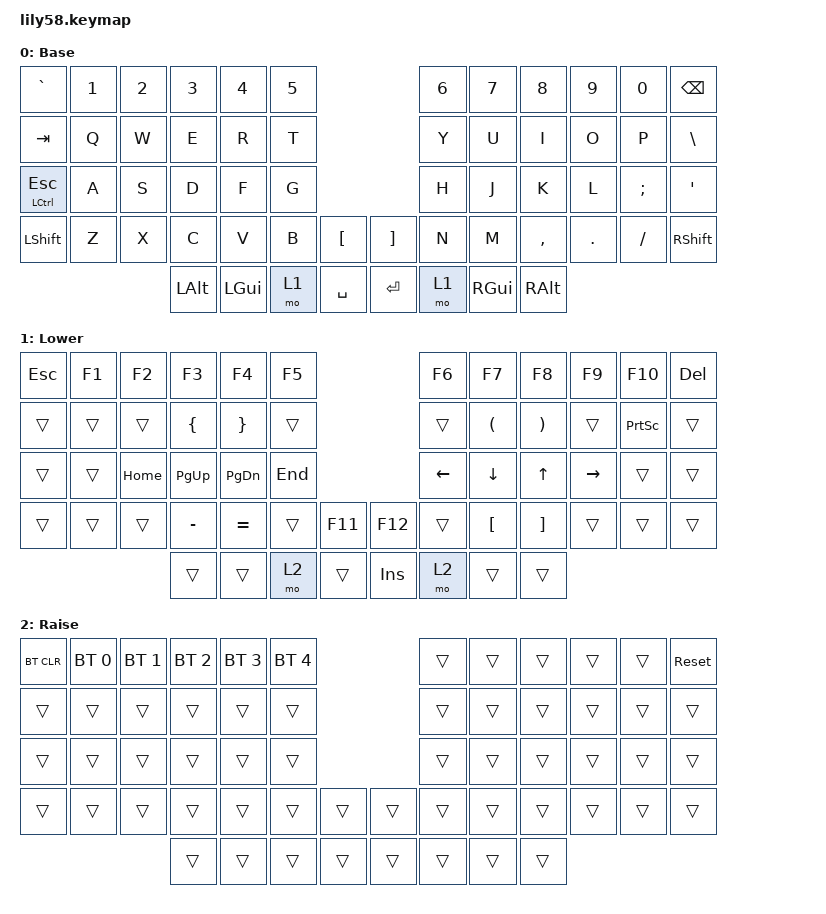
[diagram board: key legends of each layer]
/*
 * Copyright (c) 2020 The ZMK Contributors
 *
 * SPDX-License-Identifier: MIT
 */

#include <behaviors.dtsi>
#include <dt-bindings/zmk/bt.h>
#include <dt-bindings/zmk/keys.h>

/ {
    keymap {
        compatible = "zmk,keymap";

        default_layer {
            display-name = "Base";
            bindings = <
&kp GRAVE         &kp N1  &kp N2  &kp N3    &kp N4    &kp N5                         &kp N6  &kp N7         &kp N8     &kp N9   &kp N0    &kp BACKSPACE
&kp TAB           &kp Q   &kp W   &kp E     &kp R     &kp T                          &kp Y   &kp U          &kp I      &kp O    &kp P     &kp BACKSLASH
&mt LCTRL ESCAPE  &kp A   &kp S   &kp D     &kp F     &kp G                          &kp H   &kp J          &kp K      &kp L    &kp SEMI  &kp SQT
&kp LSHFT         &kp Z   &kp X   &kp C     &kp V     &kp B   &kp LBKT     &kp RBKT  &kp N   &kp M          &kp COMMA  &kp DOT  &kp FSLH  &kp RSHFT
                                  &kp LALT  &kp LGUI  &mo 1   &kp SPACE    &kp RET   &mo 1   &kp RIGHT_GUI  &kp RALT
            >;
        };

        lower_layer {
            display-name = "Lower";
            bindings = <
&kp ESCAPE  &kp F1  &kp F2    &kp F3          &kp F4           &kp F5                       &kp F6    &kp F7                &kp F8                 &kp F9     &kp F10    &kp DELETE
&trans      &trans  &trans    &kp LEFT_BRACE  &kp RIGHT_BRACE  &trans                       &trans    &kp LEFT_PARENTHESIS  &kp RIGHT_PARENTHESIS  &trans     &kp PSCRN  &trans
&trans      &trans  &kp HOME  &kp PG_UP       &kp PAGE_DOWN    &kp END                      &kp LEFT  &kp DOWN              &kp UP                 &kp RIGHT  &trans     &trans
&trans      &trans  &trans    &kp MINUS       &kp EQUAL        &trans   &kp F11    &kp F12  &trans    &kp LEFT_BRACKET      &kp RIGHT_BRACKET      &trans     &trans     &trans
                              &trans          &trans           &mo 2    &trans     &kp INS  &mo 2     &trans                &trans
            >;
        };

        raise_layer {
            display-name = "Raise";
            bindings = <
&bt BT_CLR  &bt BT_SEL 0  &bt BT_SEL 1  &bt BT_SEL 2  &bt BT_SEL 3  &bt BT_SEL 4                    &trans  &trans  &trans  &trans  &trans  &sys_reset
&trans      &trans        &trans        &trans        &trans        &trans                          &trans  &trans  &trans  &trans  &trans  &trans
&trans      &trans        &trans        &trans        &trans        &trans                          &trans  &trans  &trans  &trans  &trans  &trans
&trans      &trans        &trans        &trans        &trans        &trans        &trans    &trans  &trans  &trans  &trans  &trans  &trans  &trans
                                        &trans        &trans        &trans        &trans    &trans  &trans  &trans  &trans
            >;
        };

        extra_1 {
            status = "reserved";
        };

        extra_2 {
            status = "reserved";
        };

        extra_3 {
            status = "reserved";
        };
    };
};
